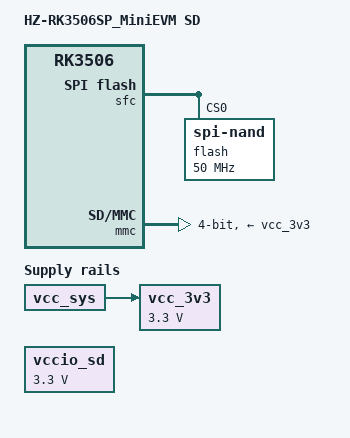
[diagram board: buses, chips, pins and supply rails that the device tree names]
// SPDX-License-Identifier: (GPL-2.0+ OR MIT)
/*
 * Copyright (c) 2025 HZHY Electronics Co., Ltd.
 * HZ-RK3506SP MiniEVM — SD card boot variant (kernel + rootfs from SD).
 */

/dts-v1/;
#include "HZ-RK3506SP_MiniEVM.dtsi"

/ {
	model = "HZ-RK3506SP_MiniEVM SD";
	compatible = "rockchip,rk3506-evb1-v10", "rockchip,rk3506";
	chosen {
		/* rootfs on SD partition 2 (squashfs). The vendor U-Boot 2017.09 does
		 * NOT propagate env bootargs into the kernel DT /chosen, so the
		 * bootscript's `setenv bootargs root=PARTUUID=...` is ignored — root
		 * must live here, not in bootscript. */
		bootargs = "earlycon=uart8250,mmio32,0xff0a0000 console=ttyS0,1500000 root=/dev/mmcblk0p2 rootfstype=squashfs rootwait net.ifnames=0";
	};
	/delete-node/ sdio-pwrseq;
	vcc_3v3: vcc-3v3 {
		compatible = "regulator-fixed";
		regulator-name = "vcc_3v3";
		regulator-always-on;
		regulator-boot-on;
		regulator-min-microvolt = <3300000>;
		regulator-max-microvolt = <3300000>;
		vin-supply = <&vcc_sys>;
	};
	/* vccio_sd (SD signaling voltage / vqmmc): fixed always-on 3.3V. The HZHY
	 * dts had a regulator-gpio defaulting to 1.8V (gpios-states=<0> -> the
	 * 1800000 state), which starves SD init — SD negotiates at 3.3V before any
	 * UHS switch. rk-forge proved fixed-3.3V works on this board
	 * (patches/linux/0005-...-MMC-SD-SPI0.patch). */
	vccio_sd: vccio-sd-regulator {
		compatible = "regulator-fixed";
		regulator-name = "vccio_sd";
		regulator-always-on;
		regulator-boot-on;
		regulator-min-microvolt = <3300000>;
		regulator-max-microvolt = <3300000>;
	};
};

&sfc {
	status = "okay";
	flash@0 {
		compatible = "spi-nand";
		reg = <0>;
		spi-max-frequency = <50000000>;
		spi-rx-bus-width = <4>;
		spi-tx-bus-width = <1>;
	};
};

/* SD slot. The HZHY dts configured cd-gpios=<&gpio1 RK_PA3> + sd-uhs-sdr104 +
 * 1.8V vqmmc — none of which match THIS board: rk-forge proved the SD CD is on
 * gpio0_A2 and the card runs 3.3V-only (patches/linux/0005). Result with the
 * HZHY config: dwmmc_rockchip probed (bound, got CD GPIO, bus=400kHz) but never
 * detected the card -> no mmcblk0 -> rootwait spun forever (log
 * uart_20260719_0007). Rather than chase the CD pin, use broken-cd (driver
 * polls the card, no CD gpio needed) + no-1-8-v + fixed-3.3V vqmmc. The sdmmc
 * clk/cmd/bus4 data pins come from the base dtsi and already probe fine. */
&mmc {
	/delete-property/ no-sd;
	/delete-property/ ignore-pm-notify;
	/delete-property/ keep-power-in-suspend;
	/delete-property/ non-removable;
	/delete-property/ mmc-pwrseq;
	cap-sd-highspeed;
	bus-width = <4>;
	no-sdio;
	no-mmc;
	no-1-8-v;
	broken-cd;
	disable-wp;
	pinctrl-names = "default";
	pinctrl-0 = <&sdmmc_clk_pins &sdmmc_cmd_pins &sdmmc_bus4_pins>;
	vmmc-supply = <&vcc_3v3>;
	vqmmc-supply = <&vccio_sd>;
	status = "okay";
};
